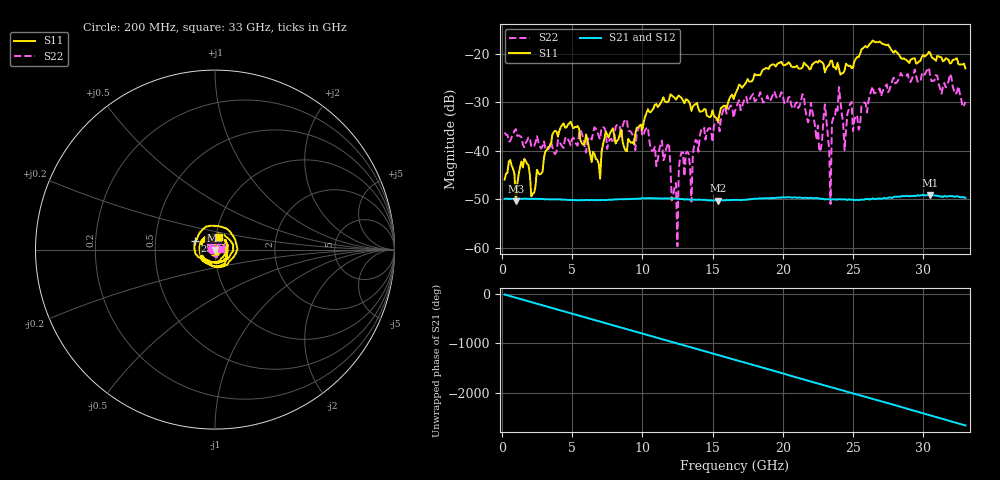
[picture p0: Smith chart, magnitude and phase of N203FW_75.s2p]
# GHZ S RI R 50
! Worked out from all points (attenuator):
!   329 points, 200 MHz to 33 GHz, reference 50 ohm
!   highest |S21| = -49.14 dB at 30.5 GHz (marker M1); lowest = -50.3 dB at 15.4 GHz (marker M2)
!   lowest |S11| = -50.4 dB at 1 GHz (marker M3), VSWR 1.01, Z = 49.8 - j0.251 ohm
!   |S11| at or under -10 dB: start of sweep to end of sweep
!   |S22| runs from -59.7 to -22.8 dB; largest |S21 - S12| = 9e-05
!   S11 on the Smith chart (normalised r, x): 200 MHz: 1.01, -0.00; 25.9 GHz: 0.80, +0.07; 33 GHz: 1.04, +0.14
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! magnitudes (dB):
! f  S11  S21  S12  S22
! 200 MHz  -46.0  -49.9  -49.9  -36.2
! 1 GHz  -50.4  -49.9  -49.9  -35.5
! 5.7 GHz  -38.4  -50.2  -50.2  -36.5
! 11.2 GHz  -30.6  -49.9  -49.8  -39.9
! 11.9 GHz  -29.6  -49.9  -49.9  -38.4
! 12.5 GHz  -28.9  -49.9  -49.9  -59.7
! 12.6 GHz  -28.6  -50.0  -50.0  -43.7
! 12.8 GHz  -29.1  -50.0  -50.0  -40.3
! 13.5 GHz  -31.8  -50.1  -50.1  -50.5
! 13.8 GHz  -30.4  -50.1  -50.1  -37.8
! 15.4 GHz  -34.0  -50.3  -50.3  -33.6
! 16.6 GHz  -28.4  -50.2  -50.2  -31.8
! 22.1 GHz  -22.2  -49.8  -49.8  -31.8
! 23 GHz  -23.8  -50.1  -50.0  -30.4
! 23.4 GHz  -21.4  -50.1  -50.1  -51.0
! 23.5 GHz  -21.4  -50.1  -50.0  -34.2
! 24 GHz  -23.0  -50.0  -50.0  -26.8
! 24.4 GHz  -23.4  -50.1  -50.0  -39.9
! 25.9 GHz  -18.4  -50.0  -50.1  -30.2
! 27.6 GHz  -18.6  -49.7  -49.7  -27.4
! 30.5 GHz  -19.9  -49.1  -49.2  -24.7
! 33 GHz  -23.0  -49.7  -49.8  -29.9
